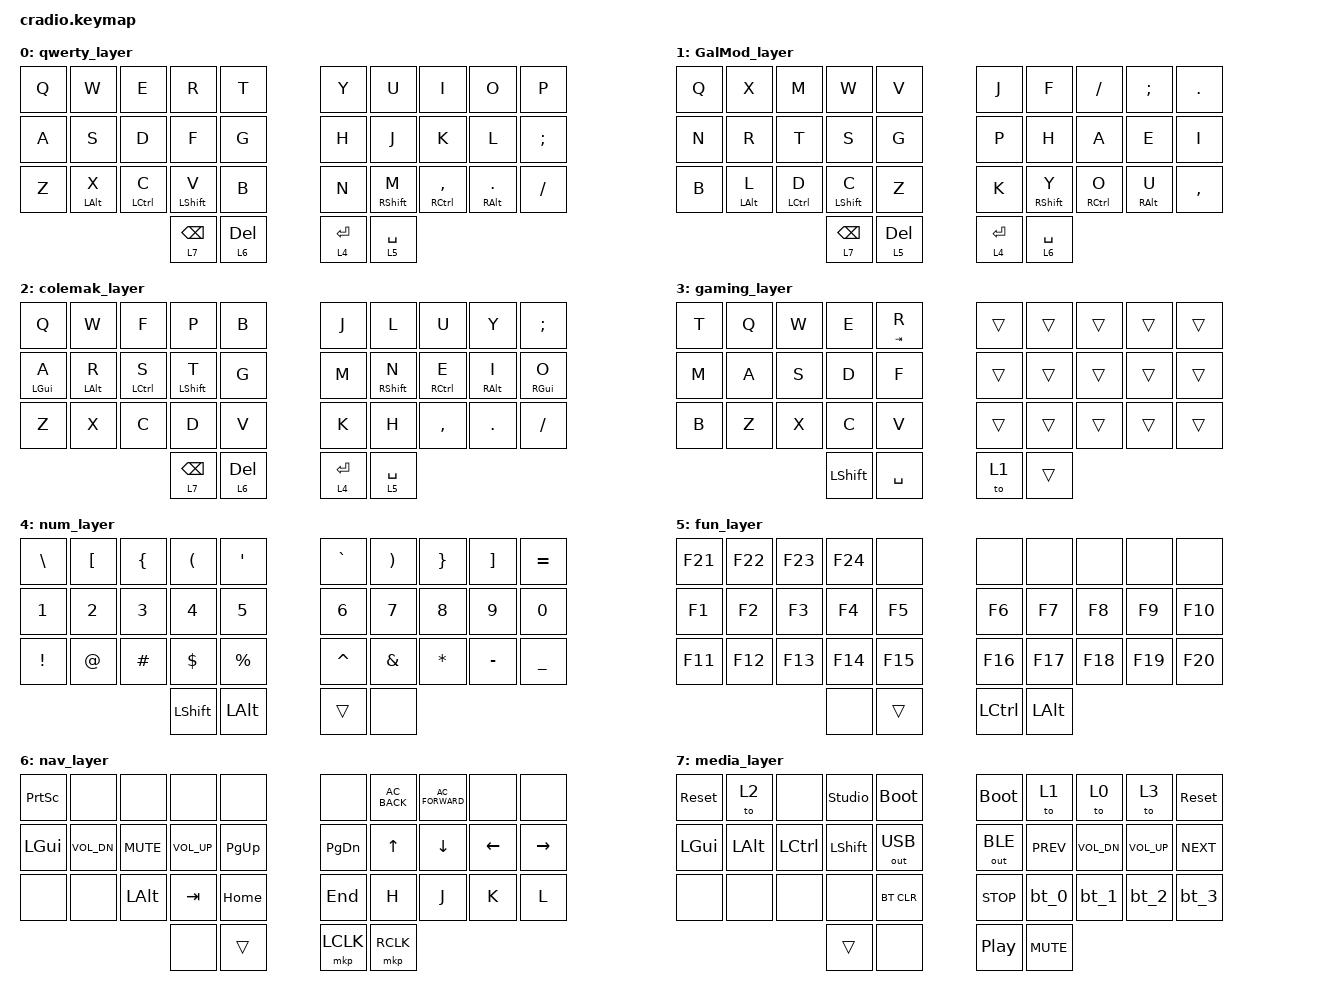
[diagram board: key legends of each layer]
/*
 * Copyright (c) 2020 duckyb
 *
 * SPDX-License-Identifier: MIT
 */

#define ZMK_POINTING_DEFAULT_MOVE_VAL 2500  // 600
#define ZMK_POINTING_DEFAULT_SCRL_VAL 20    // 10

#include <behaviors.dtsi>
#include <dt-bindings/zmk/bt.h>
#include <dt-bindings/zmk/keys.h>
#include <dt-bindings/zmk/outputs.h>
#include <dt-bindings/zmk/pointing.h>

// Layer definitions

#define BASE    0
#define ALT     1
#define COL		2
#define NUM     3
#define FUN     4
#define NAV     5
#define MED     6

// -----------------

&sk {
    // don't release mods on other mods presses

    ignore-modifiers;
};

/ {
    chosen { zmk,charmap = &charmap_us; };

    behaviors {
        ht: hold_tap {
            label = "hold_tap";
            compatible = "zmk,behavior-hold-tap";
            #binding-cells = <2>;
            flavor = "tap-preferred";
            tapping-term-ms = <220>;
            quick-tap-ms = <150>;
            global-quick-tap;
            bindings = <&kp>, <&kp>;
        };

        gt: gaming_tap {
            compatible = "zmk,behavior-hold-tap";
            label = "gaming_tap";
            #binding-cells = <2>;
            tapping-term-ms = <500>;
            quick-tap-ms = <250>;
            flavor = "tap-preferred";
            bindings = <&kp>, <&kp>;
        };

        mmv {
            acceleration-exponent = <1>;      // 1
            time-to-max-speed-ms = <300>;    // 40
            delay-ms = <0>;                   // 0
        };

        msc {
            acceleration-exponent = <0>;      // 0
            time-to-max-speed-ms = <40>;      // 500
            delay-ms = <0>;                   // 10
        };
    };

    macros {
        bt_0: bt_profile_macro_0 {
            label = "BT_0";
            compatible = "zmk,behavior-macro";
            #binding-cells = <0>;
            bindings = <&out OUT_BLE &bt BT_SEL 0>;
        };

        bt_1: bt_profile_macro_1 {
            label = "BT_1";
            compatible = "zmk,behavior-macro";
            #binding-cells = <0>;
            bindings = <&out OUT_BLE &bt BT_SEL 1>;
        };

        bt_2: bt_profile_macro_2 {
            label = "BT_2";
            compatible = "zmk,behavior-macro";
            #binding-cells = <0>;
            bindings = <&out OUT_BLE &bt BT_SEL 2>;
        };

        bt_3: bt_profile_macro_3 {
            label = "BT_3";
            compatible = "zmk,behavior-macro";
            #binding-cells = <0>;
            bindings = <&out OUT_BLE &bt BT_SEL 3>;
        };
    };

    combos {
        compatible = "zmk,combos";

        esc_combo {
            bindings = <&kp ESC>;
            key-positions = <0 1>;
        };
    };

    keymap {
        compatible = "zmk,keymap";

        qwerty_layer {
            bindings = <
&kp Q  &kp W       &kp E        &kp R        &kp T        &kp Y      &kp U        &kp I            &kp O         &kp P
&kp A  &kp S       &kp D        &kp F        &kp G        &kp H      &kp J        &kp K            &kp L         &kp SEMI
&kp Z  &ht LALT X  &ht LCTRL C  &ht LSHFT V  &kp B        &kp N      &ht RSHFT M  &ht RCTRL COMMA  &ht RALT DOT  &kp FSLH
                                &lt 7 BSPC   &lt 6 DEL    &lt 4 RET  &lt 5 SPACE
            >;
        };

        GalMod_layer {
            bindings = <
&kp Q  &kp X       &kp M        &kp W        &kp V        &kp J      &kp F        &kp FSLH     &kp SEMI    &kp DOT
&kp N  &kp R       &kp T        &kp S        &kp G        &kp P      &kp H        &kp A        &kp E       &kp I
&kp B  &ht LALT L  &ht LCTRL D  &ht LSHFT C  &kp Z        &kp K      &ht RSHFT Y  &ht RCTRL O  &ht RALT U  &kp COMMA
                                &lt 7 BSPC   &lt 5 DEL    &lt 4 RET  &lt 6 SPACE
            >;
        };

        colemak_layer {
            bindings = <
&kp Q       &kp W       &kp F        &kp P        &kp B        &kp J      &kp L        &kp U        &kp Y       &kp SEMI
&ht LGUI A  &ht LALT R  &ht LCTRL S  &ht LSHFT T  &kp G        &kp M      &ht RSHFT N  &ht RCTRL E  &ht RALT I  &ht RGUI O
&kp Z       &kp X       &kp C        &kp D        &kp V        &kp K      &kp H        &kp COMMA    &kp DOT     &kp FSLH
                                     &lt 7 BSPC   &lt 6 DEL    &lt 4 RET  &lt 5 SPACE
            >;
        };

        gaming_layer {
            bindings = <
&kp T  &kp Q  &kp W  &kp E       &gt TAB R    &trans  &trans  &trans  &trans  &trans
&kp M  &kp A  &kp S  &kp D       &kp F        &trans  &trans  &trans  &trans  &trans
&kp B  &kp Z  &kp X  &kp C       &kp V        &trans  &trans  &trans  &trans  &trans
                     &kp LSHIFT  &kp SPACE    &to 1   &trans
            >;
        };

        num_layer {
            bindings = <
&kp BSLH  &kp LBKT  &kp LBRC  &kp LPAR   &kp SQT      &kp GRAVE  &kp RPAR  &kp RBRC   &kp RBKT   &kp EQUAL
&kp N1    &kp N2    &kp N3    &kp N4     &kp N5       &kp N6     &kp N7    &kp N8     &kp N9     &kp N0
&kp EXCL  &kp AT    &kp HASH  &kp DLLR   &kp PRCNT    &kp CARET  &kp AMPS  &kp ASTRK  &kp MINUS  &kp UNDER
                              &kp LSHFT  &kp LALT     &trans     &none
            >;
        };

        fun_layer {
            bindings = <
&kp F21  &kp F22  &kp F23  &kp F24  &none      &none      &none     &none    &none    &none
&kp F1   &kp F2   &kp F3   &kp F4   &kp F5     &kp F6     &kp F7    &kp F8   &kp F9   &kp F10
&kp F11  &kp F12  &kp F13  &kp F14  &kp F15    &kp F16    &kp F17   &kp F18  &kp F19  &kp F20
                           &none    &trans     &kp LCTRL  &kp LALT
            >;
        };

        nav_layer {
            bindings = <
&kp PSCRN  &none         &none       &none         &none        &none      &kp C_AC_BACK  &kp C_AC_FORWARD  &none     &none
&kp LGUI   &kp C_VOL_DN  &kp C_MUTE  &kp C_VOL_UP  &kp PG_UP    &kp PG_DN  &kp UP         &kp DOWN          &kp LEFT  &kp RIGHT
&none      &none         &kp LALT    &kp TAB       &kp HOME     &kp END    &kp H          &kp J             &kp K     &kp L
                                     &none         &trans       &mkp LCLK  &mkp RCLK
            >;
        };

        media_layer {
            bindings = <
&sys_reset  &to 2     &none      &studio_unlock  &bootloader     &bootloader   &to 1       &to 0         &to 3         &sys_reset
&kp LGUI    &kp LALT  &kp LCTRL  &kp LSHFT       &out OUT_USB    &out OUT_BLE  &kp C_PREV  &kp C_VOL_DN  &kp C_VOL_UP  &kp C_NEXT
&none       &none     &none      &none           &bt BT_CLR      &kp C_STOP    &bt_0       &bt_1         &bt_2         &bt_3
                                 &trans          &none           &kp C_PP      &kp C_MUTE
            >;
        };
    };
};
